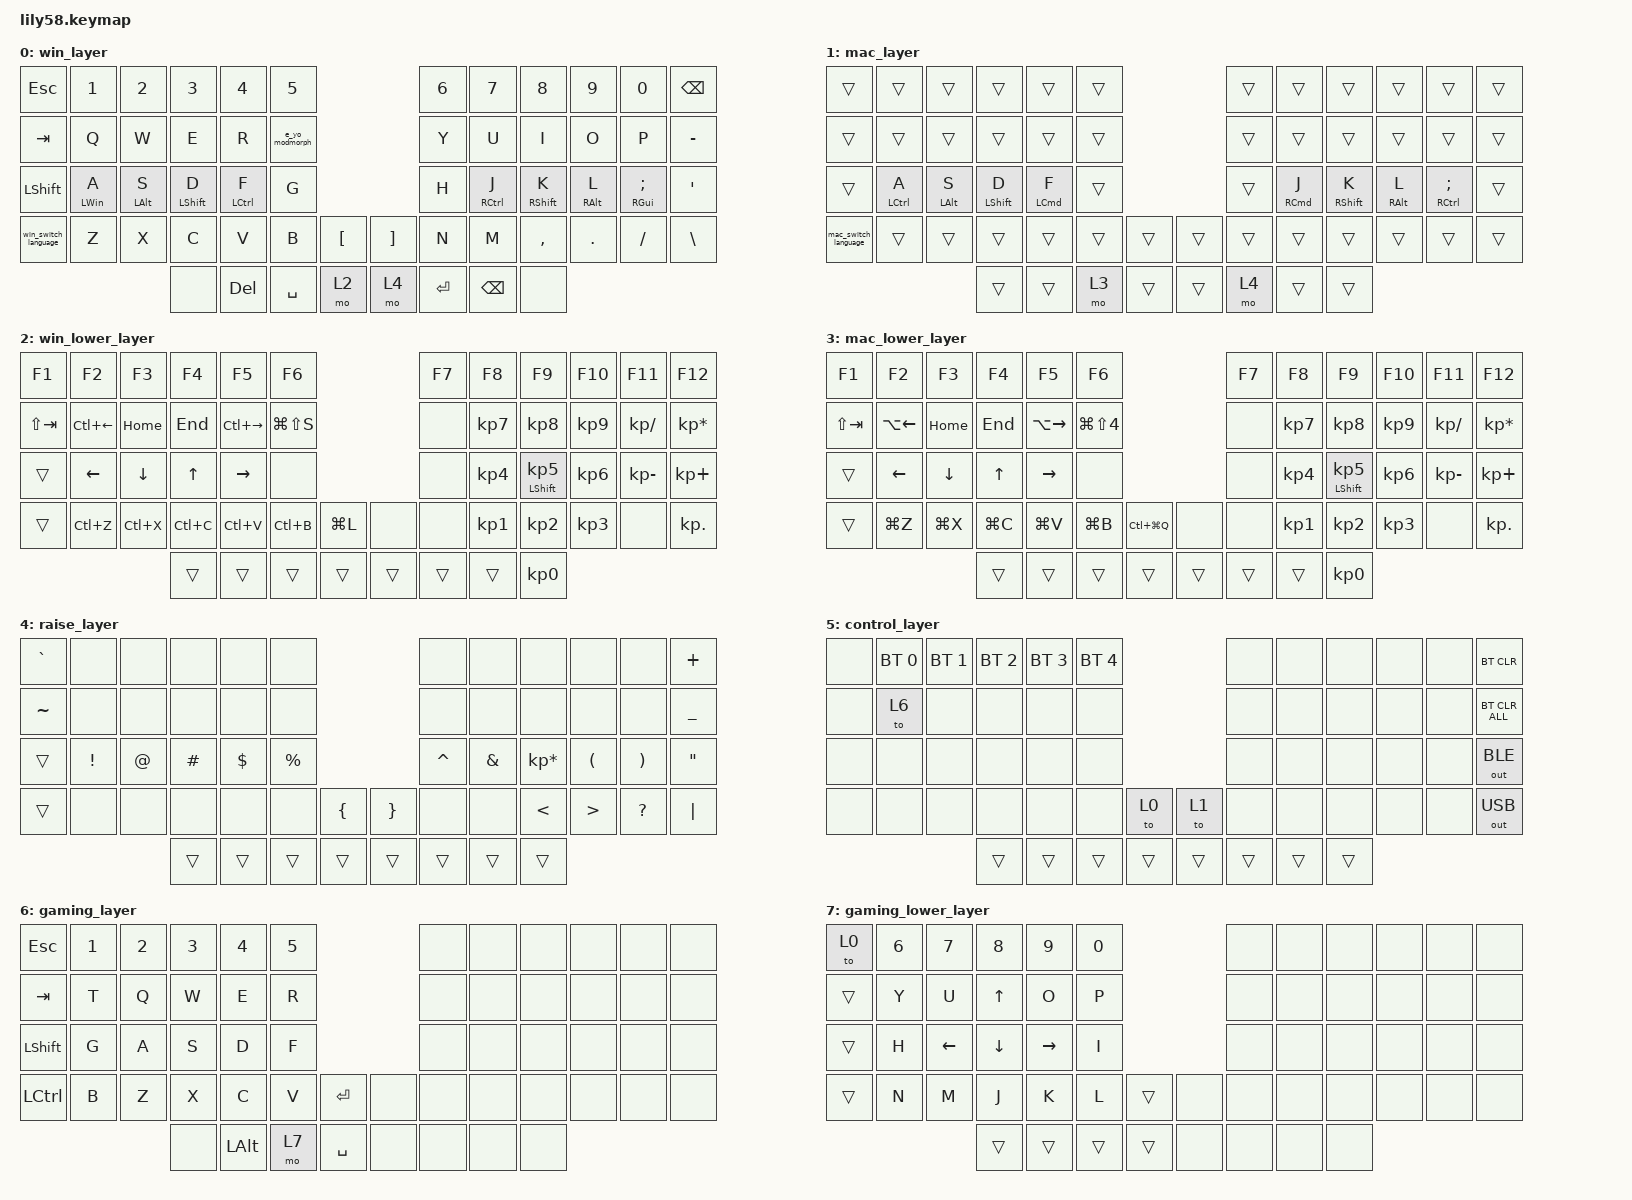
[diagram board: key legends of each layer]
/*
 * Copyright (c) 2020 The ZMK Contributors
 *
 * SPDX-License-Identifier: MIT
 */

#include <behaviors.dtsi>
#include <dt-bindings/zmk/bt.h>
#include <dt-bindings/zmk/keys.h>
#include <dt-bindings/zmk/outputs.h>

/ {
    combos { compatible = "zmk,combos"; };

    behaviors {
        ss_hs_modmorph: ss_hs_modmorph {
            compatible = "zmk,behavior-mod-morph";
            label = "SS_HS_MODMORPH";
            bindings = <&kp M>, <&kp RIGHT_BRACKET>;

            #binding-cells = <0>;
            mods = <(MOD_RALT)>;
        };

        kh_hs_tapdance: kh_hs_tapdance {
            compatible = "zmk,behavior-tap-dance";
            label = "KH_HS_TAPDANCE";
            #binding-cells = <0>;
            tapping-term-ms = <200>;
            bindings = <&kp LEFT_BRACKET>, <&kp RIGHT_BRACKET>;
        };

        hrm: hrm {
            compatible = "zmk,behavior-hold-tap";
            #binding-cells = <2>;
            flavor = "tap-preferred";
            tapping-term-ms = <200>;
            quick-tap-ms = <200>;
            require-prior-idle-ms = <125>;
            bindings = <&kp>, <&kp>;
        };

        e_yo_modmorph: e_yo_modmorph {
            compatible = "zmk,behavior-mod-morph";
            label = "E_YO_MODMORPH";
            bindings = <&kp T>, <&kp GRAVE>;

            #binding-cells = <0>;
            mods = <(MOD_RALT)>;
        };

        wsl_holdtap: wsl_holdtap {
            compatible = "zmk,behavior-hold-tap";
            #binding-cells = <2>;
            flavor = "tap-preferred";
            tapping-term-ms = <200>;
            quick-tap-ms = <200>;
            require-prior-idle-ms = <125>;
            bindings = <&kp>, <&win_switch_language>;

            label = "WSL_HOLDTAP";
        };
    };

    macros {
        win_switch_language: win_switch_language {
            compatible = "zmk,behavior-macro";
            #binding-cells = <0>;
            bindings =
                <&macro_press>,
                <&kp LEFT_ALT>,
                <&macro_tap>,
                <&kp LEFT_SHIFT>,
                <&macro_release>,
                <&kp LEFT_ALT>;

            label = "WIN_SWITCH_LANGUAGE";
        };

        mac_switch_language: mac_switch_language {
            compatible = "zmk,behavior-macro";
            #binding-cells = <0>;
            bindings =
                <&macro_press>,
                <&kp LEFT_COMMAND>,
                <&macro_tap>,
                <&kp SPACE>,
                <&macro_release>,
                <&kp LEFT_COMMAND>;

            label = "MAC_SWITCH_LANGUAGE";
        };
    };

    keymap {
        compatible = "zmk,keymap";

        win_layer {
            bindings = <
&kp ESC               &kp N1           &kp N2           &kp N3             &kp N4        &kp N5                                &kp N6     &kp N7                &kp N8              &kp N9            &kp N0               &kp BACKSPACE
&kp TAB               &kp Q            &kp W            &kp E              &kp R         &e_yo_modmorph                        &kp Y      &kp U                 &kp I               &kp O             &kp P                &kp MINUS
&kp LEFT_SHIFT        &hrm LEFT_WIN A  &hrm LEFT_ALT S  &hrm LEFT_SHIFT D  &hrm LCTRL F  &kp G                                 &kp H      &hrm RIGHT_CONTROL J  &hrm RIGHT_SHIFT K  &hrm RIGHT_ALT L  &hrm RIGHT_GUI SEMI  &kp SQT
&win_switch_language  &kp Z            &kp X            &kp C              &kp V         &kp B           &kp LBKT    &kp RBKT  &kp N      &kp M                 &kp COMMA           &kp DOT           &kp FSLH             &kp BACKSLASH
                                                        &none              &kp DELETE    &kp SPACE       &mo 2       &mo 4     &kp ENTER  &kp BACKSPACE         &none
            >;
        };

        mac_layer {
            bindings = <
&trans                &trans        &trans           &trans             &trans               &trans                    &trans  &trans                &trans              &trans            &trans                   &trans
&trans                &trans        &trans           &trans             &trans               &trans                    &trans  &trans                &trans              &trans            &trans                   &trans
&trans                &hrm LCTRL A  &hrm LEFT_ALT S  &hrm LEFT_SHIFT D  &hrm LEFT_COMMAND F  &trans                    &trans  &hrm RIGHT_COMMAND J  &hrm RIGHT_SHIFT K  &hrm RIGHT_ALT L  &hrm RIGHT_CONTROL SEMI  &trans
&mac_switch_language  &trans        &trans           &trans             &trans               &trans  &trans    &trans  &trans  &trans                &trans              &trans            &trans                   &trans
                                                     &trans             &trans               &mo 3   &trans    &trans  &mo 4   &trans                &trans
            >;
        };

        win_lower_layer {
            // ------------------------------------------------------------------------------------------------------------
            // |       |     |     |      |      |      |                   |      |       |       |      |       |       |
            // |   `   |  1  |  2  |  3   |  4   |  5   |                   |  6   |   7   |   8   |  9   |   0   |       |
            // |   F1  |  F2 |  F3 |  F4  |  F5  |  F6  |                   |      |   <-  |   v   |  ^   |  ->   |       |
            // |   F7  |  F8 |  F9 |  F10 |  F11 |  F12 |        |  |       |  +   |   -   |   =   |  [   |   ]   |   \   |
            //                     |      |      |      |        |  |       |      |       |       |

            bindings = <
&kp F1       &kp F2              &kp F3          &kp F4        &kp F5               &kp F6                              &kp F7  &kp F8           &kp F9                       &kp F10          &kp F11          &kp F12
&kp LS(TAB)  &kp LC(LEFT_ARROW)  &kp HOME        &kp END       &kp LC(RIGHT_ARROW)  &kp LG(LS(S))                       &none   &kp KP_NUMBER_7  &kp KP_NUMBER_8              &kp KP_NUMBER_9  &kp KP_DIVIDE    &kp KP_ASTERISK
&trans       &kp LEFT_ARROW      &kp DOWN_ARROW  &kp UP_ARROW  &kp RIGHT_ARROW      &none                               &none   &kp KP_NUMBER_4  &hrm LEFT_SHIFT KP_NUMBER_5  &kp KP_NUMBER_6  &kp KP_SUBTRACT  &kp KP_PLUS
&trans       &kp LC(Z)           &kp LC(X)       &kp LC(C)     &kp LC(V)            &kp LC(B)      &kp LG(L)    &none   &none   &kp KP_NUMBER_1  &kp KP_NUMBER_2              &kp KP_NUMBER_3  &none            &kp KP_DOT
                                                 &trans        &trans               &trans         &trans       &trans  &trans  &trans           &kp KP_NUMBER_0
            >;
        };

        mac_lower_layer {
            bindings = <
&kp F1       &kp F2              &kp F3          &kp F4        &kp F5               &kp F6                                         &kp F7  &kp F8           &kp F9                       &kp F10          &kp F11          &kp F12
&kp LS(TAB)  &kp LA(LEFT_ARROW)  &kp HOME        &kp END       &kp LA(RIGHT_ARROW)  &kp LG(LS(NUMBER_4))                           &none   &kp KP_NUMBER_7  &kp KP_NUMBER_8              &kp KP_NUMBER_9  &kp KP_DIVIDE    &kp KP_ASTERISK
&trans       &kp LEFT_ARROW      &kp DOWN_ARROW  &kp UP_ARROW  &kp RIGHT_ARROW      &none                                          &none   &kp KP_NUMBER_4  &hrm LEFT_SHIFT KP_NUMBER_5  &kp KP_NUMBER_6  &kp KP_SUBTRACT  &kp KP_PLUS
&trans       &kp LG(Z)           &kp LG(X)       &kp LG(C)     &kp LG(V)            &kp LG(B)             &kp LC(LG(Q))    &none   &none   &kp KP_NUMBER_1  &kp KP_NUMBER_2              &kp KP_NUMBER_3  &none            &kp KP_DOT
                                                 &trans        &trans               &trans                &trans           &trans  &trans  &trans           &kp KP_NUMBER_0
            >;
        };

        raise_layer {
            bindings = <
&kp GRAVE  &none            &none        &none     &none       &none                                           &none      &none          &none            &none                 &none                  &kp PLUS
&kp TILDE  &none            &none        &none     &none       &none                                           &none      &none          &none            &none                 &none                  &kp UNDER
&trans     &kp EXCLAMATION  &kp AT_SIGN  &kp HASH  &kp DOLLAR  &kp PERCENT                                     &kp CARET  &kp AMPERSAND  &kp KP_ASTERISK  &kp LEFT_PARENTHESIS  &kp RIGHT_PARENTHESIS  &kp DOUBLE_QUOTES
&trans     &none            &none        &none     &none       &none        &kp LEFT_BRACE    &kp RIGHT_BRACE  &none      &none          &kp LESS_THAN    &kp GREATER_THAN      &kp QUESTION           &kp PIPE
                                         &trans    &trans      &trans       &trans            &trans           &trans     &trans         &trans
            >;
        };

        control_layer {
            bindings = <
&none  &bt BT_SEL 0  &bt BT_SEL 1  &bt BT_SEL 2  &bt BT_SEL 3  &bt BT_SEL 4                    &none   &none   &none   &none  &none  &bt BT_CLR
&none  &to 6         &none         &none         &none         &none                           &none   &none   &none   &none  &none  &bt BT_CLR_ALL
&none  &none         &none         &none         &none         &none                           &none   &none   &none   &none  &none  &out OUT_BLE
&none  &none         &none         &none         &none         &none         &to 0     &to 1   &none   &none   &none   &none  &none  &out OUT_USB
                                   &trans        &trans        &trans        &trans    &trans  &trans  &trans  &trans
            >;
        };

        gaming_layer {
            bindings = <
&kp ESCAPE        &kp NUMBER_1  &kp NUMBER_2  &kp NUMBER_3  &kp NUMBER_4  &kp N5                      &none  &none  &none  &none  &none  &none
&kp TAB           &kp T         &kp Q         &kp W         &kp E         &kp R                       &none  &none  &none  &none  &none  &none
&kp LEFT_SHIFT    &kp G         &kp A         &kp S         &kp D         &kp F                       &none  &none  &none  &none  &none  &none
&kp LEFT_CONTROL  &kp B         &kp Z         &kp X         &kp C         &kp V   &kp ENTER    &none  &none  &none  &none  &none  &none  &none
                                              &none         &kp LEFT_ALT  &mo 7   &kp SPACE    &none  &none  &none  &none
            >;
        };

        gaming_lower_layer {
            bindings = <
&to 0   &kp NUMBER_6  &kp N7    &kp N8        &kp N9     &kp N0                   &none  &none  &none  &none  &none  &none
&trans  &kp Y         &kp U     &kp UP_ARROW  &kp O      &kp P                    &none  &none  &none  &none  &none  &none
&trans  &kp H         &kp LEFT  &kp DOWN      &kp RIGHT  &kp I                    &none  &none  &none  &none  &none  &none
&trans  &kp N         &kp M     &kp J         &kp K      &kp L   &trans    &none  &none  &none  &none  &none  &none  &none
                                &trans        &trans     &trans  &trans    &none  &none  &none  &none
            >;
        };
    };

    conditional_layers {
        compatible = "zmk,conditional-layers";

        win_control_layer {
            if-layers = <2 4>;
            then-layer = <5>;
        };

        mac_control_layer {
            if-layers = <3 4>;
            then-layer = <5>;
        };
    };
};
